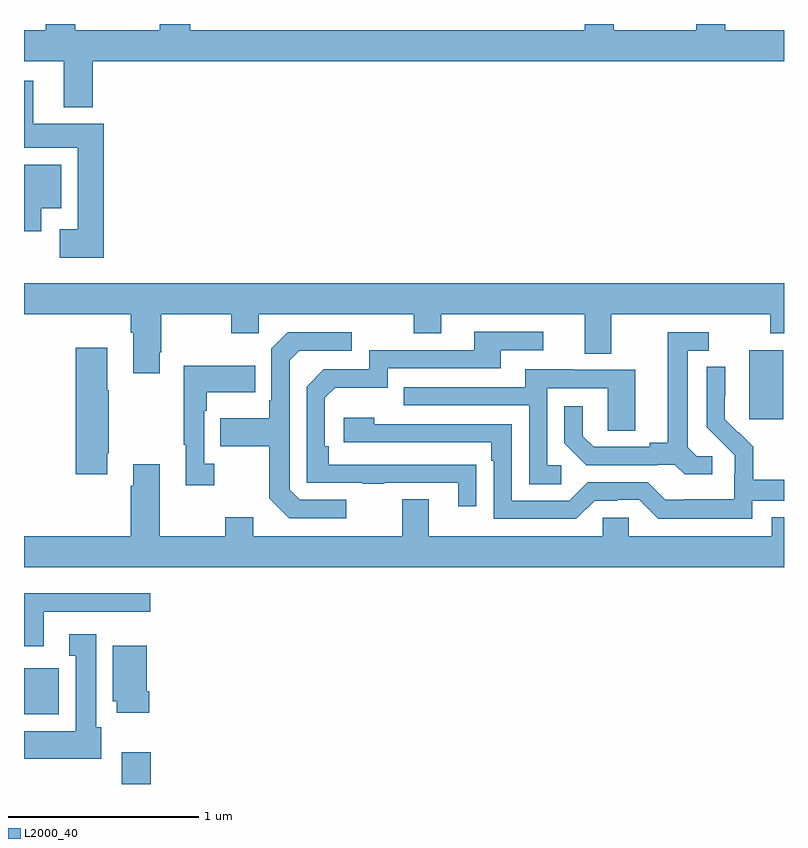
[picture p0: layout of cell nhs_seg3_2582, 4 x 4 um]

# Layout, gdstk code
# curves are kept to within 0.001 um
import gdstk
lib = gdstk.Library(unit=1e-6, precision=1e-09)
def R(c, l, rs):  # rectangles x0, y0, x1, y1
    for r in rs: c.add(gdstk.rectangle(r[:2], r[2:], *l))
def P(c, l, *ps):  # polygons
    for p in ps: c.add(gdstk.Polygon(p, *l))
L2000_40 = (2000, 40)

nhs_seg3_2582 = lib.new_cell('nhs_seg3_2582')
R(nhs_seg3_2582, L2000_40, [(243.515,742.4,243.668,742.567), (243,742.766,243.184,743.008), (246.818,744.321,246.997,744.682)])
P(nhs_seg3_2582, L2000_40, [(243.362,746.204),(247,746.204),(247,746.368),(246.692,746.368),(246.692,746.4),(246.539,746.4),(246.539,746.368),(246.103,746.368),(246.103,746.4),(245.951,746.4),(245.951,746.368),(243.875,746.368),(243.875,746.4),(243.715,746.4),(243.715,746.368),(243.27,746.368),(243.27,746.4),(243.115,746.4),(243.115,746.368),(243,746.368),(243,746.204),(243.209,746.204),(243.209,745.961),(243.362,745.961)],
  [(243.419,745.876),(243.049,745.876),(243.049,746.101),(243,746.101),(243,745.748),(243.284,745.748),(243.284,745.321),(243.189,745.321),(243.189,745.169),(243.419,745.169)],
  [(243.091,745.43),(243.196,745.43),(243.196,745.66),(243,745.66),(243,745.308),(243.091,745.308)],
  [(243.715,744.673),(243.723,744.673),(243.723,744.872),(244.09,744.872),(244.09,744.773),(244.236,744.773),(244.236,744.872),(245.05,744.872),(245.05,744.773),(245.197,744.773),(245.197,744.872),(245.951,744.872),(245.951,744.664),(246.091,744.664),(246.091,744.872),(246.928,744.872),(246.928,744.773),(247,744.773),(247,745.036),(243,745.036),(243,744.872),(243.563,744.872),(243.563,744.776),(243.575,744.776),(243.575,744.561),(243.715,744.561)],
  [(245.381,744.08),(244.604,744.081),(244.604,744.178),(244.584,744.178),(244.584,744.432),(244.637,744.485),(244.914,744.485),(244.914,744.588),(245.509,744.588),(245.509,744.684),(245.734,744.684),(245.734,744.78),(245.369,744.78),(245.369,744.684),(244.818,744.684),(244.818,744.582),(244.578,744.582),(244.488,744.492),(244.488,743.985),(244.783,743.985),(244.783,743.98),(244.895,743.98),(244.895,743.985),(245.285,743.985),(245.285,743.862),(245.381,743.862)],
  [(246.622,744.126),(246.54,744.126),(246.493,744.173),(246.493,744.681),(246.604,744.681),(246.604,744.777),(246.389,744.777),(246.389,744.197),(246.293,744.197),(246.293,744.174),(245.998,744.174),(245.941,744.231),(245.941,744.388),(245.844,744.388),(245.844,744.194),(245.96,744.078),(246.332,744.078),(246.332,744.081),(246.426,744.081),(246.478,744.029),(246.622,744.029)],
  [(244.696,743.895),(244.452,743.895),(244.398,743.949),(244.398,744.63),(244.449,744.681),(244.726,744.681),(244.726,744.777),(244.389,744.777),(244.302,744.69),(244.302,744.421),(244.29,744.421),(244.29,744.325),(244.033,744.325),(244.033,744.178),(244.29,744.178),(244.29,743.905),(244.395,743.799),(244.696,743.799)],
  [(243.439,744.142),(243.447,744.142),(243.447,744.473),(243.439,744.473),(243.439,744.697),(243.272,744.697),(243.272,744.03),(243.439,744.03)],
  [(244,744.086),(243.948,744.086),(243.948,744.365),(243.961,744.365),(243.961,744.461),(244.217,744.461),(244.217,744.601),(243.84,744.601),(243.84,744.185),(243.851,744.185),(243.851,743.973),(244,743.973)],
  [(246.834,743.892),(247,743.892),(247,744.001),(246.839,744.001),(246.839,744.175),(246.762,744.252),(246.759,744.249),(246.689,744.32),(246.69,744.596),(246.594,744.596),(246.594,744.278),(246.74,744.13),(246.74,744.033),(246.738,744.033),(246.738,743.899),(246.475,743.899),(246.475,743.895),(246.375,743.895),(246.282,743.988),(245.967,743.988),(245.871,743.892),(245.568,743.892),(245.568,744.294),(244.844,744.294),(244.844,744.328),(244.683,744.328),(244.683,744.198),(245.459,744.198),(245.459,744.101),(245.472,744.101),(245.472,743.796),(245.907,743.796),(246.003,743.892),(246.122,743.892),(246.122,743.895),(246.237,743.895),(246.337,743.795),(246.834,743.795)],
  [(245.827,744.078),(245.754,744.078),(245.754,744.483),(246.072,744.483),(246.072,744.259),(246.217,744.259),(246.217,744.579),(245.893,744.579),(245.893,744.583),(245.639,744.583),(245.639,744.489),(244.999,744.489),(244.999,744.393),(245.658,744.393),(245.658,743.977),(245.827,743.977)],
  [(247,743.803),(246.935,743.803),(246.935,743.704),(246.183,743.704),(246.183,743.802),(246.045,743.802),(246.045,743.704),(245.131,743.704),(245.131,743.899),(244.991,743.899),(244.991,743.704),(244.207,743.704),(244.207,743.803),(244.06,743.803),(244.06,743.704),(243.715,743.704),(243.715,744.082),(243.575,744.082),(243.575,743.969),(243.563,743.969),(243.563,743.704),(243,743.704),(243,743.54),(247,743.54)],
  [(243.103,743.307),(243.664,743.307),(243.664,743.404),(243,743.404),(243,743.126),(243.103,743.126)],
  [(243.406,742.698),(243.379,742.698),(243.379,743.188),(243.239,743.188),(243.239,743.075),(243.272,743.075),(243.272,742.678),(243,742.678),(243,742.532),(243.406,742.532)],
  [(243.659,742.888),(243.646,742.888),(243.646,743.128),(243.467,743.128),(243.467,742.836),(243.488,742.836),(243.488,742.776),(243.659,742.776)])

lib.write_gds('nhs_seg3_2582.gds')
